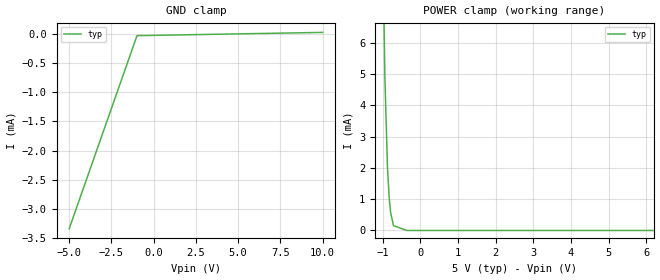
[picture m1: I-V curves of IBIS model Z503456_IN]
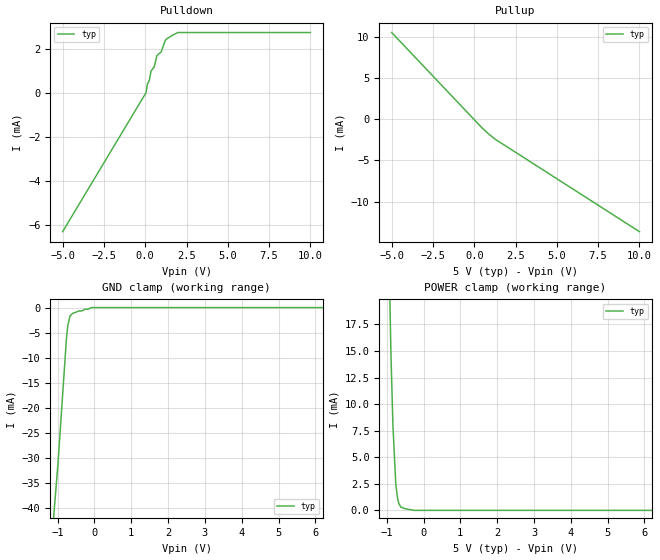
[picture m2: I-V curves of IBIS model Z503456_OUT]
| YOU ARE ONLY AUTHORIZED TO USE THIS SOFTWARE
| ACCORDING TO LICENSOR'S LICENSE RESTRICTIONS.
[IBIS Ver] 3.1
[File Name] mc14002bcl.ibs
[File Rev] 2.0
[Source] Measured and created by ICX Technology
[Date] Friday 7/14/00 9:07:50 AM
[Copyright]
| (C) COPYRIGHT 1993-2000
| MENTOR GRAPHICS CORPORATION
| ICX STANDARD LIBRARY, ICX PROJECT MODELING,
| ICX CUSTOM MODELING, ICX VENDOR MODEL
| ALL RIGHTS RESERVED.
| THE FOLLOWING ARE TRADEMARKS OR SERVICE MARKS OF
| MENTOR GRAPHICS CORPORATION:ICX (R), ICX STANDARD
| LIBRARY(R), ICX PROJECT MODELING(R), ICX CUSTOM
| MODELING(R), qualityIBIS(TM), MODELVIEWER(TM),
| AND MODELEDITOR(TM)
| ALL COPIES OF SOFTWARE, INCLUDING BUT NOT LIMITED TO
| ANY MODIFICATIONS, ENHANCEMENTS OR DERIVATIVE WORKS,
| MUST CONTAIN ALL MENTOR GRAPHICS CORPORATION'S
| NOTICES AND LEGENDS, INCLUDING THOSE EMBEDDED IN
| SOFTWARE AND THOSE AFFIXED TO SOFTWARE MEDIUM
| AND CONTAINER, AS RECEIVED FROM MENTOR GRAPHICS
| CORPORATION.
|  ZAP Model Builder 2.7
[Component] MC14002BCL
[Manufacturer] OnSemiconductor
[Package]
| variable   typ   min   max
R_pkg  .21ohms NA NA
L_pkg  4.543nH NA NA
C_pkg  1.8pF NA NA
[Pin] signal_name  model_name  R_pin  L_pin C_pin
1 OUTA Z503456_OUT .22 6.757n 2.434p
2 IN1A Z503456_IN .212 4.757n 1.941p
3 IN2A Z503456_IN .204 3.257n 1.448p
4 IN3A Z503456_IN .196 2.257n .955p
5 IN4A Z503456_IN .204 3.257n 1.448p
6 NC NC .212 4.757n 1.941p
7 VSS GND .22 6.757n 2.434p
8 NC NC .22 6.757n 2.434p
9 IN1B Z503456_IN .212 4.757n 1.941p
10 IN2B Z503456_IN .204 3.257n 1.448p
11 IN3B Z503456_IN .196 2.257n .955p
12 IN4B Z503456_IN .204 3.257n 1.448p
13 OUTB Z503456_OUT .212 4.757n 1.941p
14 VDD POWER .22 6.757n 2.434p
| Models and submodels in the file (2): Z503456_IN (Input), Z503456_OUT (Output)
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| (C) COPYRIGHT 1993-2000
| MENTOR GRAPHICS CORPORATION
| ICX STANDARD LIBRARY, ICX PROJECT MODELING,
| ICX CUSTOM MODELING, ICX VENDOR MODEL
| ALL RIGHTS RESERVED.
| THE FOLLOWING ARE TRADEMARKS OR SERVICE MARKS OF
| MENTOR GRAPHICS CORPORATION:ICX (R), ICX STANDARD
| LIBRARY(R), ICX PROJECT MODELING(R), ICX CUSTOM
| MODELING(R), qualityIBIS(TM), MODELVIEWER(TM),
| AND MODELEDITOR(TM)
| ALL COPIES OF SOFTWARE, INCLUDING BUT NOT LIMITED TO
| ANY MODIFICATIONS, ENHANCEMENTS OR DERIVATIVE WORKS,
| MUST CONTAIN ALL MENTOR GRAPHICS CORPORATION'S
| NOTICES AND LEGENDS, INCLUDING THOSE EMBEDDED IN
| SOFTWARE AND THOSE AFFIXED TO SOFTWARE MEDIUM
| AND CONTAINER, AS RECEIVED FROM MENTOR GRAPHICS
| CORPORATION.
| Model Application Version 1.89 2/18/99.
[Model] Z503456_IN
Model_type Input
Vinl = 1.500V
Vinh = 3.500V
C_comp 4.000pF NA NA
| variable typ   min   max
[Voltage Range] 5.000V NA NA
[GND Clamp Reference] 0.000V NA NA
[POWER Clamp Reference] 5.000V NA NA
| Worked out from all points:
|   POWER clamp passes 1 mA (typ) near -0.82 V on its own axis
[GND Clamp]
-5V       -3.341mA   NA         NA
-986.5mV  -27.59uA   NA         NA
10V       28.32uA    NA         NA
[POWER Clamp]
-5V       621.2mA    NA         NA
-1.23V    35.26mA    NA         NA
-1.061V   14.62mA    NA         NA
-938mV    4.916mA    NA         NA
-869mV    2.024mA    NA         NA
-820mV    994uA      NA         NA
-785mV    571.6uA    NA         NA
-708mV    153.7uA    NA         NA
-354mV    0A         NA         NA
10V       0A         NA         NA
| (C) COPYRIGHT 1993-2000
| MENTOR GRAPHICS CORPORATION
| ICX STANDARD LIBRARY, ICX PROJECT MODELING,
| ICX CUSTOM MODELING, ICX VENDOR MODEL
| ALL RIGHTS RESERVED.
| THE FOLLOWING ARE TRADEMARKS OR SERVICE MARKS OF
| MENTOR GRAPHICS CORPORATION:ICX (R), ICX STANDARD
| LIBRARY(R), ICX PROJECT MODELING(R), ICX CUSTOM
| MODELING(R), qualityIBIS(TM), MODELVIEWER(TM),
| AND MODELEDITOR(TM)
| ALL COPIES OF SOFTWARE, INCLUDING BUT NOT LIMITED TO
| ANY MODIFICATIONS, ENHANCEMENTS OR DERIVATIVE WORKS,
| MUST CONTAIN ALL MENTOR GRAPHICS CORPORATION'S
| NOTICES AND LEGENDS, INCLUDING THOSE EMBEDDED IN
| SOFTWARE AND THOSE AFFIXED TO SOFTWARE MEDIUM
| AND CONTAINER, AS RECEIVED FROM MENTOR GRAPHICS
| CORPORATION.
| Model Application Version 1.89 2/18/99.
[Model] Z503456_OUT
Model_type Output
Vref=0.000V
Rref=500.0Mohms
Cref=50.00pF
Vmeas=2.500V
C_comp 8.000pF NA NA
| variable typ   min   max
[Voltage Range] 5.000V NA NA
[POWER Clamp Reference] 5.000V NA NA
[Pullup Reference] 5.000V NA NA
[Pulldown Reference] 0.000V NA NA
[GND Clamp Reference] 0.000V NA NA
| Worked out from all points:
|   slope of the pulldown table from 0 to 0.75 V, typ, clamps not added: 422 ohm
|   slope of the pullup table from 0 to 0.75 V, typ, clamps not added: 498 ohm
|   GND clamp passes 1 mA (typ) near -0.53 V on its own axis
|   POWER clamp passes 1 mA (typ) near -0.70 V on its own axis
[GND Clamp]
-5V       -396.4mA   NA         NA
-991.2mV  -31.15mA   NA         NA
-761.7mV  -6.274mA   NA         NA
-724.6mV  -3.646mA   NA         NA
-664.1mV  -1.66mA    NA         NA
-586.1mV  -1.125mA   NA         NA
-426.5mV  -679.6uA   NA         NA
-346.6mV  -679.6uA   NA         NA
-84.95mV  0A         NA         NA
10V       0A         NA         NA
[Pulldown]
-5V       -6.304mA   NA         NA
48.75mV   20.06uA    NA         NA
131.7mV   409.3uA    NA         NA
247.3mV   578.3uA    NA         NA
351.2mV   1.005mA    NA         NA
548.7mV   1.197mA    NA         NA
703.2mV   1.708mA    NA         NA
966.8mV   1.873mA    NA         NA
1.186V    2.349mA    NA         NA
1.262V    2.445mA    NA         NA
1.978V    2.755mA    NA         NA
10V       2.755mA    NA         NA
[Pullup]
-5V       10.48mA    NA         NA
454mV     -1.034mA   NA         NA
864mV     -1.792mA   NA         NA
1.277V    -2.454mA   NA         NA
10V       -13.63mA   NA         NA
[POWER Clamp]
-5V       760.8mA    NA         NA
-884mV    14.68mA    NA         NA
-830mV    7.972mA    NA         NA
-752mV    2.437mA    NA         NA
-703mV    1.103mA    NA         NA
-669mV    635.2uA    NA         NA
-615mV    307.2uA    NA         NA
-498mV    151.2uA    NA         NA
-249mV    0A         NA         NA
10V       0A         NA         NA
[Ramp]
| variable typ min max
dV/dt_r 2.503/17.87n NA NA
dV/dt_f 2.503/13.97n NA NA
R_load = 2.500kOhms
